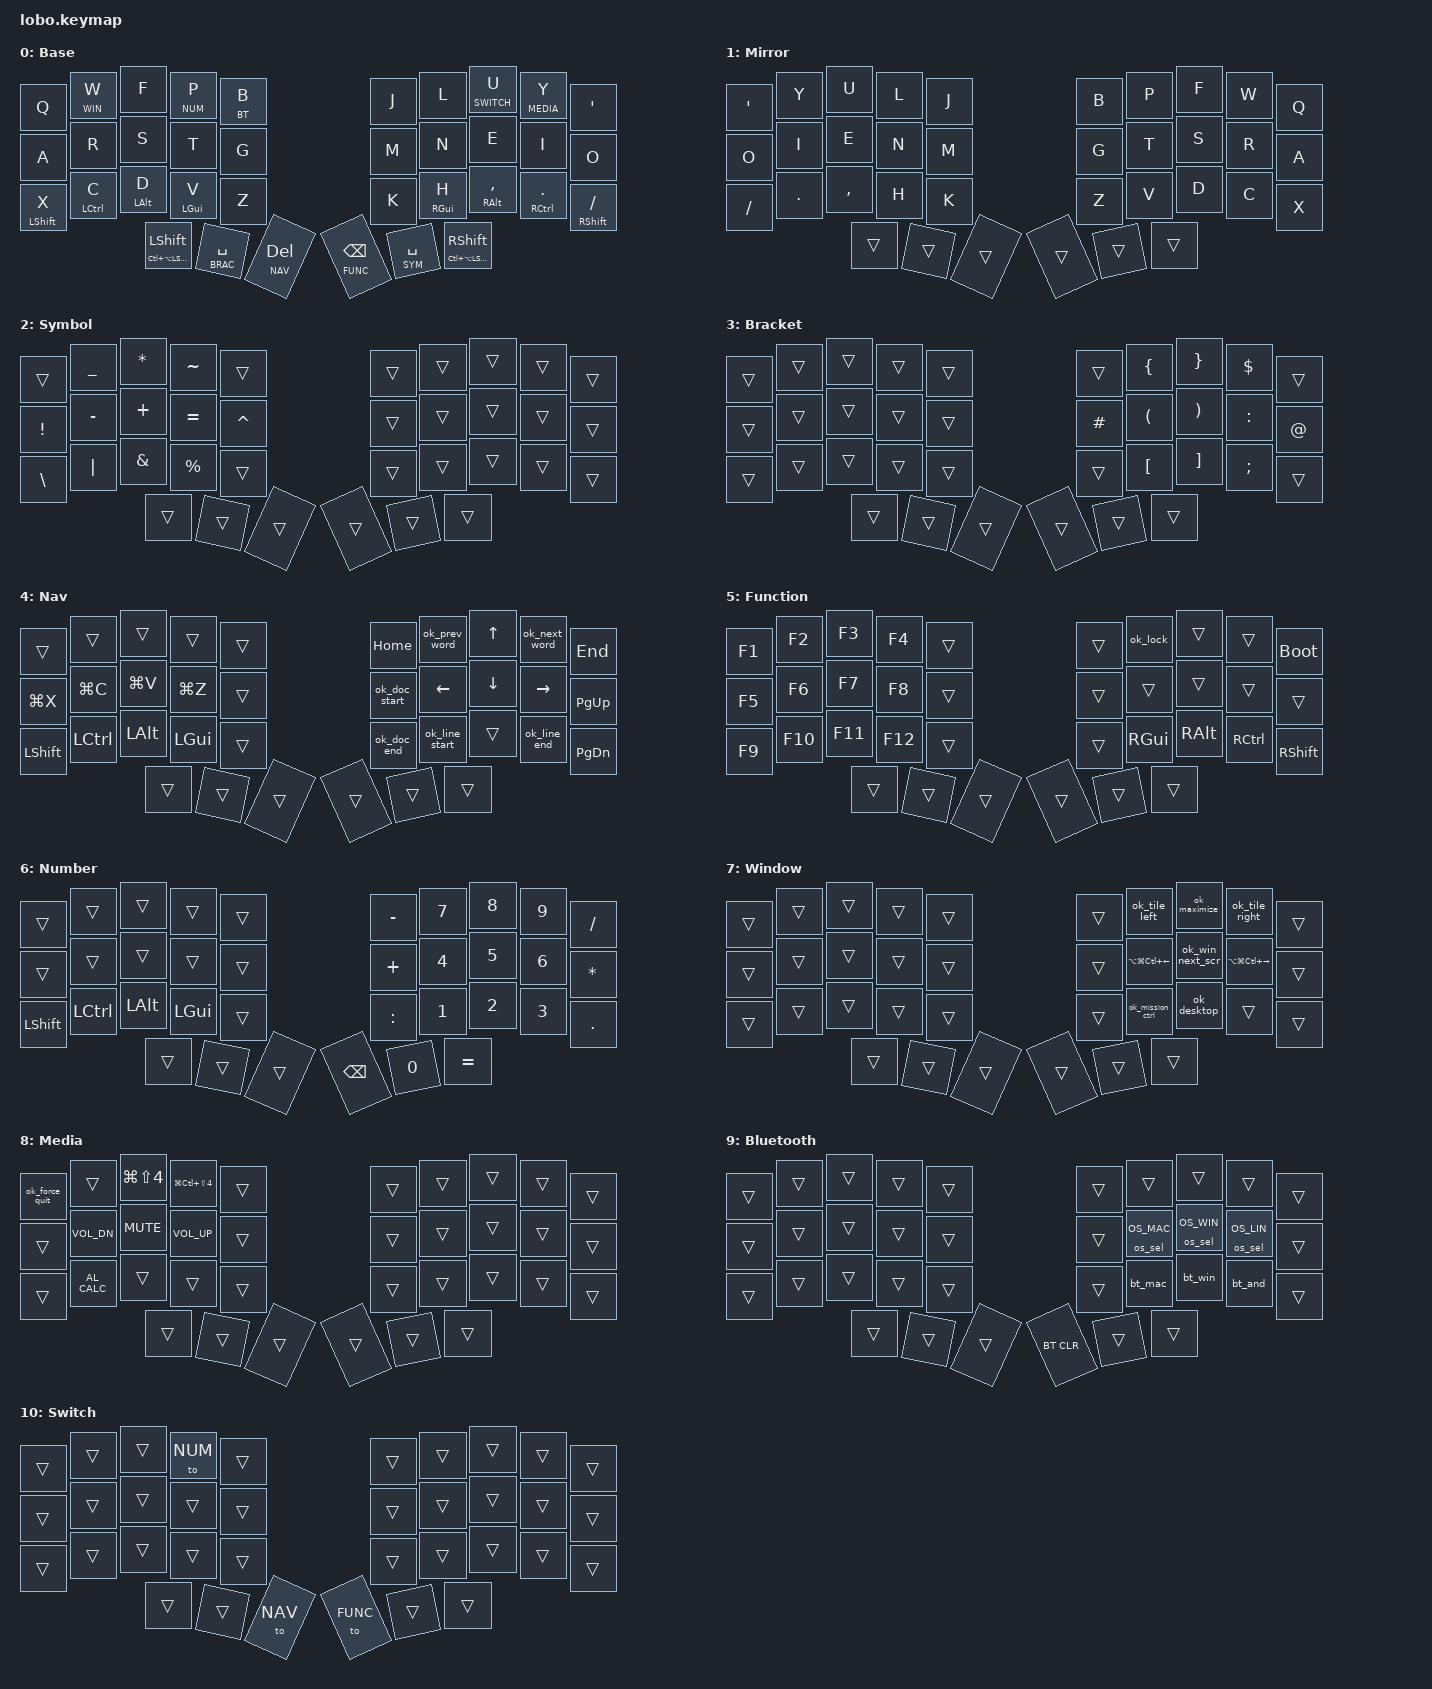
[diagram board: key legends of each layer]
#include <behaviors.dtsi>
#include <dt-bindings/zmk/keys.h>
#include <dt-bindings/zmk/bt.h>
#include <dt-bindings/zmk/oskey.h>
#include <behaviors/oskey.dtsi>

#define BASE    0
#define MIRROR  1
#define SYM     2
#define BRAC    3
#define NAV     4
#define FUNC    5
#define NUM     6
#define WIN     7
#define MEDIA   8
#define BT      9
#define SWITCH  10

/ {
    chosen {
        zmk,physical-layout = &lobo_5col_layout;
    };

    macros {
        bt_mac: bt_mac {
            compatible = "zmk,behavior-macro";
            #binding-cells = <0>;
            bindings = <&bt BT_SEL 0>, <&os_sel OS_MAC>;
        };

        bt_win: bt_win {
            compatible = "zmk,behavior-macro";
            #binding-cells = <0>;
            bindings = <&bt BT_SEL 1>, <&os_sel OS_WIN>;
        };

        bt_and: bt_and {
            compatible = "zmk,behavior-macro";
            #binding-cells = <0>;
            bindings = <&bt BT_SEL 2>, <&os_sel OS_LIN>;
        };
    };

    behaviors {
        // See https://github.com/mentaldesk/oskey?tab=readme-ov-file#2-define-an-os-selector-behavior-instance
        os_sel: os_selector {
            compatible = "zmk,behavior-os-selector";
            #binding-cells = <1>;
        };

        ok_win_lh: os_key_win_left_half {
            compatible = "zmk,behavior-os-key";
            #binding-cells = <0>;
            /*            Win           Mac           Lin  */
            bindings = <&kp LG(LEFT)>, <&kp LS(LA(LG(LC(LEFT))))>, <&kp ESC>;
        };

        ok_win_rh: os_key_win_right_half {
            compatible = "zmk,behavior-os-key";
            #binding-cells = <0>;
            /*            Win           Mac           Lin  */
            bindings = <&kp LG(RIGHT)>, <&kp LS(LA(LG(LC(RIGHT))))>, <&kp ESC>;
        };

        ok_win_max: os_key_win_maximize {
            compatible = "zmk,behavior-os-key";
            #binding-cells = <0>;
            /*            Win           Mac           Lin  */
            bindings = <&kp LG(UP)>, <&kp LA(LC(ENTER))>, <&kp ESC>;
        };

        ok_win_next_scr: os_key_win_next_screen {
            compatible = "zmk,behavior-os-key";
            #binding-cells = <0>;
            /*            Win           Mac           Lin  */
            bindings = <&kp LS(LG(LEFT))>, <&kp LA(LC(LG(DOWN)))>, <&kp ESC>;
        };

        // Custom sticky key with quick release
        skq: sticky_key_quick_release {
            compatible = "zmk,behavior-sticky-key";
            #binding-cells = <1>;
            bindings = <&kp>;
            release-after-ms = <1500>;
            quick-release;
            ignore-modifiers;
        };

        // Bottom row shift mods (no quick-tap + shorter tapping term)
        bml_shft: bottom_mods_left_shift {
            compatible = "zmk,behavior-hold-tap";
            #binding-cells = <2>;
            tapping-term-ms = <150>;
            quick-tap-ms = <0>;
            require-prior-idle-ms = <150>;
            flavor = "balanced";
            bindings = <&kp>, <&kp>;
            hold-trigger-key-positions = <5 6 7 8 9 15 16 17 18 19 25 26 27 28 29 33 34 35>;
            hold-trigger-on-release;
        };

        bmr_shft: bottom_mods_right_shift {
            compatible = "zmk,behavior-hold-tap";
            #binding-cells = <2>;
            tapping-term-ms = <150>;
            quick-tap-ms = <0>;
            require-prior-idle-ms = <150>;
            flavor = "balanced";
            bindings = <&kp>, <&kp>;
            hold-trigger-key-positions = <0 1 2 3 4 10 11 12 13 14 20 21 22 23 24 30 31 32>;
            hold-trigger-on-release;
        };

        // Bottom row mods without quick-tap
        bml_no_qt: bottom_mods_left_no_quicktap {
            compatible = "zmk,behavior-hold-tap";
            #binding-cells = <2>;
            tapping-term-ms = <200>;
            quick-tap-ms = <0>;
            require-prior-idle-ms = <150>;
            flavor = "balanced";
            bindings = <&kp>, <&kp>;
            hold-trigger-key-positions = <5 6 7 8 9 15 16 17 18 19 25 26 27 28 29 33 34 35>;
            hold-trigger-on-release;
        };

        bmr_no_qt: bottom_mods_right_no_quicktap {
            compatible = "zmk,behavior-hold-tap";
            #binding-cells = <2>;
            tapping-term-ms = <200>;
            quick-tap-ms = <0>;
            require-prior-idle-ms = <150>;
            flavor = "balanced";
            bindings = <&kp>, <&kp>;
            hold-trigger-key-positions = <0 1 2 3 4 10 11 12 13 14 20 21 22 23 24 30 31 32>;
            hold-trigger-on-release;
        };

        // Bottom row mods with quick-tap (for keys you might double-tap)
        bml: bottom_mods_left {
            compatible = "zmk,behavior-hold-tap";
            #binding-cells = <2>;
            tapping-term-ms = <250>;
            quick-tap-ms = <125>;
            require-prior-idle-ms = <150>;
            flavor = "balanced";
            bindings = <&kp>, <&kp>;
            hold-trigger-key-positions = <5 6 7 8 9 15 16 17 18 19 25 26 27 28 29 33 34 35>;
            hold-trigger-on-release;
        };

        bmr: bottom_mods_right {
            compatible = "zmk,behavior-hold-tap";
            #binding-cells = <2>;
            tapping-term-ms = <200>;
            quick-tap-ms = <125>;
            require-prior-idle-ms = <150>;
            flavor = "balanced";
            bindings = <&kp>, <&kp>;
            hold-trigger-key-positions = <0 1 2 3 4 10 11 12 13 14 20 21 22 23 24 30 31 32>;
            hold-trigger-on-release;
        };

        osm_meh: osm_meh_hold_tap {
            compatible = "zmk,behavior-hold-tap";
            #binding-cells = <2>;
            tapping-term-ms = <200>;
            quick-tap-ms = <0>;
            flavor = "tap-preferred";
            bindings = <&kp>, <&skq>;
        };

        // Layer-tap with quick-tap for DEL and BSPC
        lt_qt: layer_tap_quick_tap {
            compatible = "zmk,behavior-hold-tap";
            #binding-cells = <2>;
            tapping-term-ms = <200>;
            quick-tap-ms = <125>;
            flavor = "balanced";
            bindings = <&mo>, <&kp>;
        };
    };

    combos {
        compatible = "zmk,combos";
        
        // R+S+T = ESC
        combo_esc {
            timeout-ms = <50>;
            key-positions = <11 12 13>;
            bindings = <&kp ESC>;
            layers = <BASE>;
        };

        // R+S+T = go back to BASE (on any non-BASE layer)
        combo_esc_to_base {
            timeout-ms = <50>;
            key-positions = <11 12 13>;
            bindings = <&to BASE>;
            layers = <MIRROR SYM BRAC NAV FUNC NUM WIN MEDIA BT SWITCH>;
        };
        
        // N+E+I = Enter
        combo_enter {
            timeout-ms = <50>;
            key-positions = <16 17 18>;
            bindings = <&kp ENTER>;
            layers = <BASE>;
        };
        
        // P+B = Tab
        combo_tab {
            timeout-ms = <50>;
            key-positions = <3 4>;
            bindings = <&kp TAB>;
            layers = <BASE>;
        };
        
        // J+L = Grave/Backtick
        combo_grave {
            timeout-ms = <50>;
            key-positions = <5 6>;
            bindings = <&kp GRAVE>;
            layers = <BASE>;
        };
        
        // T+G = OSM(Brackets)
        combo_brac {
            timeout-ms = <50>;
            key-positions = <13 14>;
            bindings = <&sl BRAC>;
            layers = <BASE>;
        };
        
        // M+N = OSM(Symbols)
        combo_sym {
            timeout-ms = <50>;
            key-positions = <15 16>;
            bindings = <&sl SYM>;
            layers = <BASE>;
        };

        // FP = OSM Left Shift
        combo_osm_lshift {
            timeout-ms = <50>;
            key-positions = <2 3>;
            bindings = <&skq LSHFT>;
            layers = <BASE>;
        };

        // L+U = OSM Right Shift
        combo_osm_rshift {
            timeout-ms = <50>;
            key-positions = <6 7>;
            bindings = <&skq RSHFT>;
            layers = <BASE>;
        };

        // U+Y = Apostrophe
        combo_apostrophe {
            timeout-ms = <50>;
            key-positions = <7 8>;
            bindings = <&kp SQT>;
            layers = <BASE>;
        };

        // V+Z = Backslash
        combo_bslash {
            timeout-ms = <50>;
            key-positions = <23 24>;
            bindings = <&kp BSLH>;
            layers = <BASE>;
        };

        // K+H = Slash
        combo_slash {
            timeout-ms = <50>;
            key-positions = <25 26>;
            bindings = <&kp SLASH>;
            layers = <BASE>;
        };

        // W+F+P = Caps Word
        combo_capsword {
            timeout-ms = <50>;
            key-positions = <1 2 3>;
            bindings = <&caps_word>;
            layers = <BASE>;
        };
        
        // L+U+Y = Caps Lock
        combo_capslock {
            timeout-ms = <50>;
            key-positions = <6 7 8>;
            bindings = <&kp CAPS>;
            layers = <BASE>;
        };

        // T+V = OSM(Mirror)
        combo_mirror {
            timeout-ms = <50>;
            key-positions = <13 23>;
            bindings = <&sl MIRROR>;
            layers = <BASE>;
        };
};

    keymap {
        compatible = "zmk,keymap";

// -----------------------------------------------------------------------------------------
// |  Q  |  W  |  F  |  P  |  B  |     |  J  |  L   |  U   |  Y   |  '  |
// |  A  |  R  |  S  |  T  |  G  |     |  M  |  N   |  E   |  I   |  O  | 
// |  X  |  C  |  D  |  V  |  Z  |     |  K  |  H   |  ,   |  .   |  /  |
//             |OSFT |SPC|NAV/DEL|     |BSPC |SPC/FN|OSFT |
        base_layer {
            display-name = "Base";
            bindings = <
   &kp Q       &lt WIN W    &kp F        &lt NUM P    &lt BT B         &kp J        &kp L        &lt SWITCH U        &lt MEDIA Y  &kp SQT
   &kp A       &kp R        &kp S        &kp T        &kp G            &kp M        &kp N        &kp E        &kp I        &kp O
   &bml_shft LSHFT X &bml LCTRL C &bml LALT D &bml_no_qt LGUI V  &kp Z            &kp K        &bmr_no_qt RGUI H  &bmr_no_qt RALT COMMA &bmr RCTRL DOT &bmr_shft RSHFT SLASH
                            &osm_meh LC(LA(LSHFT)) LSHFT  &lt BRAC SPACE &lt_qt NAV DEL      &lt_qt FUNC BSPC &lt SYM SPACE &osm_meh LC(LA(LSHFT)) RSHFT
            >;
        };

// -----------------------------------------------------------------------------------------
// Mirrors the Base layer by swapping the left/right halves for CAD work
        mirror_layer {
            display-name = "Mirror";
            bindings = <
       &kp SQT  &kp Y    &kp U    &kp L    &kp J        &kp B    &kp P    &kp F    &kp W    &kp Q
       &kp O    &kp I    &kp E    &kp N    &kp M        &kp G    &kp T    &kp S    &kp R    &kp A
       &kp SLASH &kp DOT &kp COMMA &kp H   &kp K        &kp Z    &kp V    &kp D    &kp C    &kp X
                         &trans    &trans  &trans       &trans   &trans   &trans
            >;
        };

// -----------------------------------------------------------------------------------------
// | RST |  _  |  *  |  ~  |     |     |     |     |     |     |     |
// |  !  |  -  |  +  |  =  |  ^  |     |     |     |     |     |     |
// |  \  |  |  |  &  |  %  |     |     |     |     |     |     |     |
//             |     |     |     |     |     |     |
        symbol_layer {
            display-name = "Symbol";
            bindings = <
   &trans      &kp UNDER    &kp ASTRK    &kp TILDE    &trans           &trans       &trans       &trans       &trans       &trans
   &kp EXCL    &kp MINUS    &kp PLUS     &kp EQUAL    &kp CARET        &trans       &trans       &trans       &trans       &trans
   &kp BSLH    &kp PIPE     &kp AMPS     &kp PRCNT    &trans           &trans       &trans       &trans       &trans       &trans
                            &trans       &trans       &trans           &trans       &trans       &trans
            >;
        };

        bracket_layer {
// -----------------------------------------------------------------------------------------
// | RST |     |     |     |     |     |     |  {  |  }  |  $  |     |
// |     |     |     |     |     |     |  #  |  (  |  )  |  :  |  @  |
// |     |     |     |     |     |     |     |  [  |  ]  |  ;  |     |
//             |     |     |     |     |     |     |
            display-name = "Bracket";
            bindings = <
   &trans      &trans       &trans       &trans       &trans           &trans       &kp LBRC     &kp RBRC     &kp DLLR     &trans
   &trans      &trans       &trans       &trans       &trans           &kp HASH     &kp LPAR     &kp RPAR     &kp COLON    &kp AT
   &trans      &trans       &trans       &trans       &trans           &trans       &kp LBKT     &kp RBKT     &kp SEMI     &trans
                            &trans       &trans       &trans           &trans       &trans       &trans
            >;
        };

// -----------------------------------------------------------------------------------------
// | RST |     |     |     |     |     | HOME| WBCK|  UP | WFWD| END |
// | CUT | CPY | PST | UND |     |     | TOP | LEFT| DOWN|RIGHT| PGUP|
// |LSHFT|LCTRL|LALT | LGUI|     |     | BTM | HOME|     | END | PGDN|
//             |     |     |     |     |     | TAB |
        nav_layer {
            display-name = "Nav";
            bindings = <
   &trans      &trans       &trans       &trans       &trans           &kp HOME         &ok_prev_word   &kp UP       &ok_next_word  &kp END
   &kp LG(X)   &kp LG(C)    &kp LG(V)    &kp LG(Z)    &trans           &ok_doc_start    &kp LEFT        &kp DOWN     &kp RIGHT      &kp PG_UP
   &kp LSHFT   &kp LCTRL    &kp LALT     &kp LGUI     &trans           &ok_doc_end      &ok_line_start  &trans       &ok_line_end   &kp PG_DN
                            &trans       &trans       &trans           &trans           &trans          &trans
            >;
        };

// -----------------------------------------------------------------------------------------
// | RST | F1  | F2  | F3  |     |     |     |LOCK |     |     | BOOT|
// |     | F4  | F5  | F6  | F7  | F8  |     |     |     |     |     |
// |     | F9  | F10 | F11 | F12 |     |     |RGUI |RALT |RCTRL|RSHFT|
//             |     |     |     |     |     |     |
        function_layer {
            display-name = "Function";
            bindings = <
   &kp F1      &kp F2       &kp F3       &kp F4       &trans           &trans       &ok_lock     &trans      &trans       &bootloader
   &kp F5      &kp F6       &kp F7       &kp F8       &trans           &trans       &trans       &trans      &trans       &trans
   &kp F9      &kp F10      &kp F11      &kp F12      &trans           &trans       &kp RGUI     &kp RALT    &kp RCTRL    &kp RSHFT
                            &trans       &trans       &trans           &trans       &trans       &trans
            >;
        };

// -----------------------------------------------------------------------------------------
// | RST |     |     |     |     |     |  -  |  7  |  8  |  9  |  /  |
// |     |     |     |     |     |     |  +  |  4  |  5  |  6  |  *  |
// |LSHFT|LCTRL|LALT | LGUI|     |     |  :  |  1  |  2  |  3  |  .  |
//             |     |     |     |     |BSPC |  0  |
        number_layer {
            display-name = "Number";
            bindings = <
   &trans      &trans       &trans       &trans       &trans           &kp MINUS    &kp N7       &kp N8       &kp N9       &kp SLASH
   &trans      &trans       &trans       &trans       &trans           &kp PLUS     &kp N4       &kp N5       &kp N6       &kp ASTRK
   &kp LSHFT    &kp LCTRL    &kp LALT     &kp LGUI    &trans           &kp COLON    &kp N1       &kp N2       &kp N3       &kp DOT
                            &trans       &trans       &trans           &kp BSPC     &kp N0       &kp EQUAL
            >;
        };

// -----------------------------------------------------------------------------------------
// |     |     |     |     |     |     |     | LHalf    | MAX        |  RHalf  |     |
// |     |     |     |     |     |     |     |  LFT     | NextScreen |   RGT   |     |
// |     |     |     |     |     |     |     | MissCtrl | Desktop    |         |     |
//             |     |     |     |     |     |          |
        window_layer {
            display-name = "Window";
            bindings = <
   &trans      &trans       &trans       &trans       &trans           &trans       &ok_tile_left        &ok_maximize     &ok_tile_right        &trans
   &trans      &trans       &trans       &trans       &trans           &trans       &kp LA(LG(LC(LEFT))) &ok_win_next_scr &kp LA(LG(LC(RIGHT))) &trans
   &trans      &trans       &trans       &trans       &trans           &trans       &ok_mission_ctrl     &ok_desktop      &trans                &trans
                            &trans       &trans       &trans           &trans       &trans       &trans
            >;
        };

// -----------------------------------------------------------------------------------------
// |FORCE|    |SCRNF |SCRNC|     |     |     |     |     |     |     |
// |     | VOL-| MUTE| VOL+|     |     |     |     |     |     |     |
// |     | CALC|     |     |     |     |     |     |     |     |     |
//             |     |     |     |     |     |     |
        media_layer {
            display-name = "Media";
            bindings = <
   &ok_force_quit   &trans          &kp LG(LS(N4)) &kp LG(LC(LS(N4)))   &trans       &trans       &trans       &trans       &trans       &trans
   &trans           &kp C_VOL_DN    &kp C_MUTE     &kp C_VOL_UP         &trans       &trans       &trans       &trans       &trans       &trans
   &trans           &kp C_AL_CALC   &trans         &trans               &trans       &trans       &trans       &trans       &trans       &trans
                                    &trans         &trans               &trans       &trans       &trans       &trans
            >;
        };

// -----------------------------------------------------------------------------------------
// |     |     |     |     |     |     |     |     |     |     |     |
// |     |     |     |     |     |     |     |     |     |     |     |
// |     |     |     |     |     |     |     | BT0 | BT1 | BT2 |     |
//             |     |     |     |     |BTCLR|     |     |
        bluetooth_layer {
            display-name = "Bluetooth";
            bindings = <
   &trans      &trans       &trans       &trans       &trans           &trans       &trans           &trans          &trans          &trans
   &trans      &trans       &trans       &trans       &trans           &trans       &os_sel OS_MAC   &os_sel OS_WIN  &os_sel OS_LIN  &trans
   &trans      &trans       &trans       &trans       &trans           &trans       &bt_mac          &bt_win         &bt_and         &trans
                            &trans       &trans       &trans       &bt BT_CLR       &trans           &trans
            >;
        };

// -----------------------------------------------------------------------------------------
// |BASE |     |     | NUM |     |     |     |     |     |     |     |
// |     |     |     |     |     |     |     |     |     |     |     |
// |     |     |     |     |     |     |     |     |     |     |     |
//             |     |     | NAV |     | FUNC|     |     |
        switch_layer {
            display-name = "Switch";
            bindings = <
   &trans      &trans       &trans       &to NUM      &trans           &trans       &trans       &trans       &trans       &trans
   &trans      &trans       &trans       &trans       &trans           &trans       &trans       &trans       &trans       &trans
   &trans      &trans       &trans       &trans       &trans           &trans       &trans       &trans       &trans       &trans
                            &trans       &trans       &to NAV          &to FUNC     &trans       &trans
            >;
        };
    };
};
